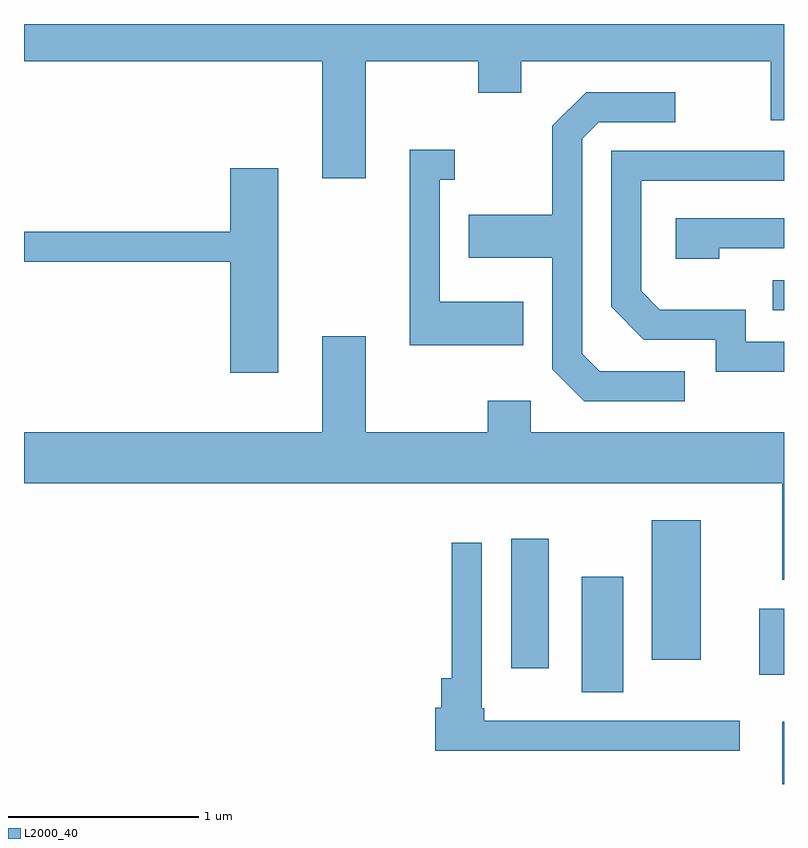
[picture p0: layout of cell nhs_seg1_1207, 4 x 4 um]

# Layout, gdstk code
import gdstk
lib = gdstk.Library(unit=1e-6, precision=1e-09)
def R(c, l, rs):  # rectangles x0, y0, x1, y1
    for r in rs: c.add(gdstk.rectangle(r[:2], r[2:], *l))
def P(c, l, *ps):  # polygons
    for p in ps: c.add(gdstk.Polygon(p, *l))
L2000_40 = (2000, 40)

nhs_seg1_1207 = lib.new_cell('nhs_seg1_1207')
R(nhs_seg1_1207, L2000_40, [(225.601,955.712,225.611,956.039), (224.546,956.196,224.764,956.804), (225.481,956.286,225.611,956.634), (224.176,956.321,224.374,957.004), (224.916,956.366,225.174,957.099), (225.553,958.206,225.611,958.364)])
P(nhs_seg1_1207, L2000_40, [(223.409,959.516),(224.001,959.516),(224.001,959.351),(224.229,959.351),(224.229,959.516),(225.541,959.516),(225.541,959.206),(225.611,959.206),(225.611,959.712),(221.611,959.712),(221.611,959.516),(223.181,959.516),(223.181,958.901),(223.409,958.901)],
  [(225.088,957.884),(224.642,957.884),(224.549,957.977),(224.549,959.109),(224.637,959.196),(225.038,959.196),(225.038,959.354),(224.569,959.354),(224.391,959.177),(224.391,958.709),(223.951,958.709),(223.951,958.481),(224.391,958.481),(224.391,957.894),(224.559,957.726),(225.088,957.726)],
  [(224.239,958.249),(223.799,958.249),(223.799,958.891),(223.878,958.891),(223.878,959.049),(223.641,959.049),(223.641,958.021),(224.239,958.021)],
  [(225.611,958.039),(225.409,958.039),(225.409,958.209),(224.957,958.209),(224.859,958.307),(224.859,958.886),(225.611,958.886),(225.611,959.044),(224.701,959.044),(224.701,958.224),(224.874,958.051),(225.251,958.051),(225.251,957.881),(225.611,957.881)],
  [(222.949,958.954),(222.696,958.954),(222.696,958.619),(221.611,958.619),(221.611,958.461),(222.696,958.461),(222.696,957.876),(222.949,957.876)],
  [(225.269,958.531),(225.611,958.531),(225.611,958.689),(225.041,958.689),(225.041,958.476),(225.269,958.476)],
  [(225.611,957.564),(224.279,957.564),(224.279,957.729),(224.051,957.729),(224.051,957.564),(223.409,957.564),(223.409,958.069),(223.181,958.069),(223.181,957.564),(221.611,957.564),(221.611,957.296),(225.601,957.296),(225.601,956.786),(225.611,956.786)],
  [(225.378,956.044),(224.034,956.044),(224.034,956.11),(224.019,956.11),(224.019,956.983),(223.861,956.983),(223.861,956.269),(223.806,956.269),(223.806,956.114),(223.776,956.114),(223.776,955.886),(225.378,955.886)])

lib.write_gds('nhs_seg1_1207.gds')
